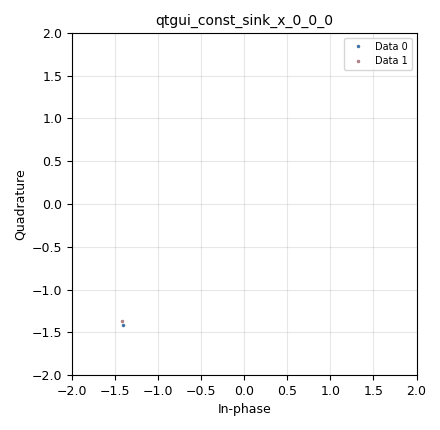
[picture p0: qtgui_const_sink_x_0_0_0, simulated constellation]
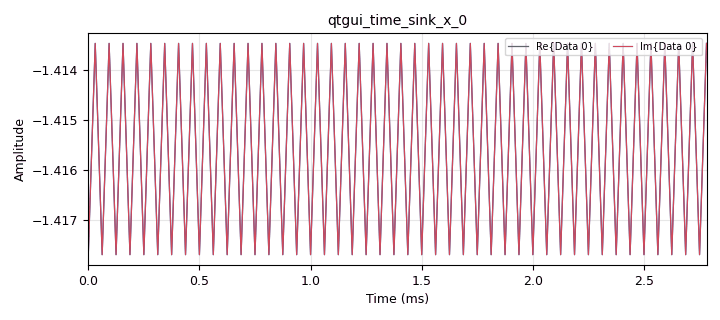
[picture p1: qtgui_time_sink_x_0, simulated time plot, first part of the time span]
options:
  parameters:
    author: yabool2001
    copyright: mzemlo.pl@gmail.com
    description: QPSK modulation nice visualisation with Pluto
    generate_options: qt_gui
    id: yabool2001_QPSK_mod_nice_visual_w_Pluto
    output_language: python
    title: QPSK modulation nice visualisation with Pluto
  states: {}

blocks:
- name: samp_rate
  id: variable
  parameters:
    value: '32000'
  states: {}
- name: variable_constellation_0
  id: variable_constellation
  parameters:
    precision: '8'
    type: qpsk
  states: {}
- name: analog_noise_source_x_0_0
  id: analog_noise_source_x
  parameters:
    amp: '0.05'
    noise_type: analog.GR_GAUSSIAN
    seed: '0'
    type: complex
  states: {}
- name: blocks_add_xx_0_0
  id: blocks_add_xx
  parameters:
    type: complex
  states: {}
- name: blocks_repeat_0
  id: blocks_repeat
  parameters:
    interp: samp_rate
    type: byte
  states: {}
- name: blocks_throttle2_0_0
  id: blocks_throttle2
  parameters:
    samples_per_second: samp_rate
    type: byte
  states: {}
- name: blocks_vector_source_x_0_1
  id: blocks_vector_source_x
  parameters:
    repeat: 'True'
    type: byte
    vector: '[0,1,2,3]'
  states: {}
- name: digital_constellation_modulator_0
  id: digital_constellation_modulator
  parameters:
    constellation: variable_constellation_0
    differential: 'True'
    excess_bw: '0.35'
    samples_per_symbol: '2'
  states: {}
- name: qtgui_const_sink_x_0_0_0
  id: qtgui_const_sink_x
  parameters:
    nconnections: '2'
    size: '1'
    type: complex
    update_time: '1'
  states: {}
- name: qtgui_time_sink_x_0
  id: qtgui_time_sink_x
  parameters:
    autoscale: 'True'
    size: '2048'
    srate: samp_rate
    type: complex
  states: {}

connections:
- [analog_noise_source_x_0_0, '0', blocks_add_xx_0_0, '1']
- [blocks_add_xx_0_0, '0', qtgui_const_sink_x_0_0_0, '1']
- [blocks_repeat_0, '0', digital_constellation_modulator_0, '0']
- [blocks_throttle2_0_0, '0', blocks_repeat_0, '0']
- [blocks_vector_source_x_0_1, '0', blocks_throttle2_0_0, '0']
- [digital_constellation_modulator_0, '0', blocks_add_xx_0_0, '0']
- [digital_constellation_modulator_0, '0', qtgui_const_sink_x_0_0_0, '0']
- [digital_constellation_modulator_0, '0', qtgui_time_sink_x_0, '0']

metadata:
  file_format: 1
  grc_version: 3.10.10.0
